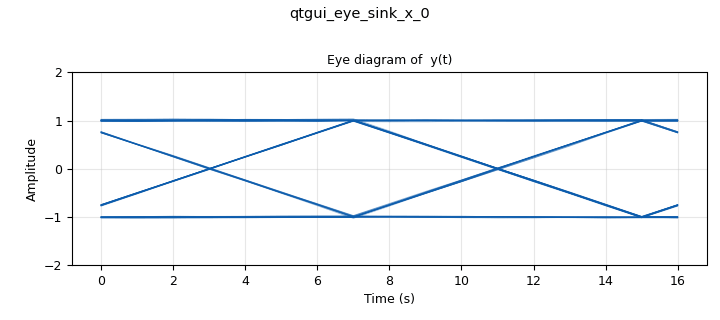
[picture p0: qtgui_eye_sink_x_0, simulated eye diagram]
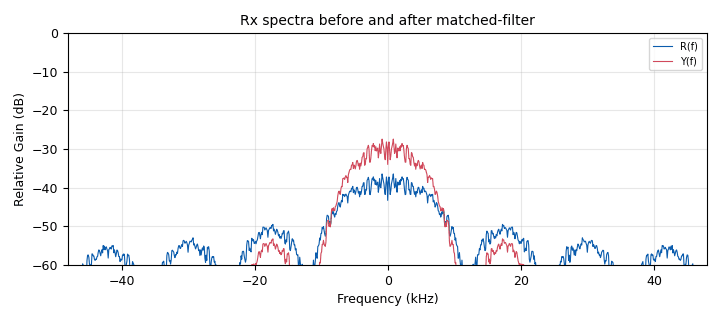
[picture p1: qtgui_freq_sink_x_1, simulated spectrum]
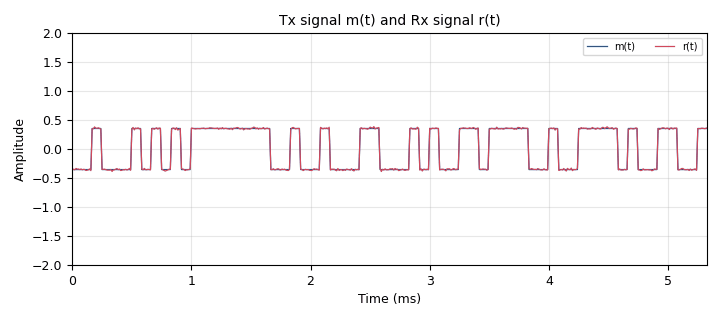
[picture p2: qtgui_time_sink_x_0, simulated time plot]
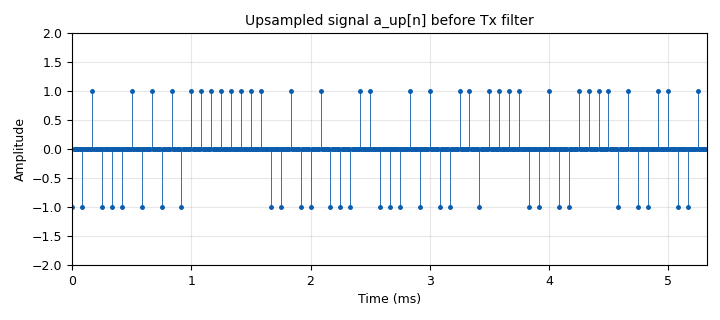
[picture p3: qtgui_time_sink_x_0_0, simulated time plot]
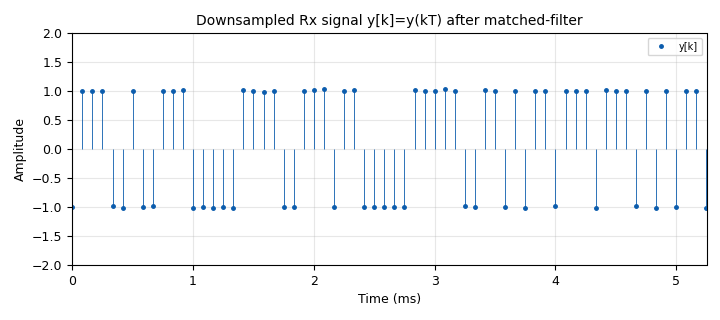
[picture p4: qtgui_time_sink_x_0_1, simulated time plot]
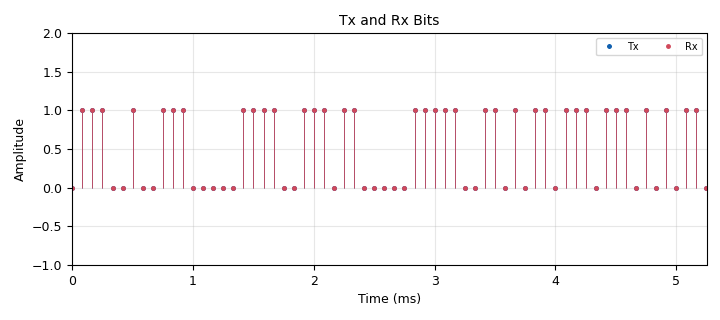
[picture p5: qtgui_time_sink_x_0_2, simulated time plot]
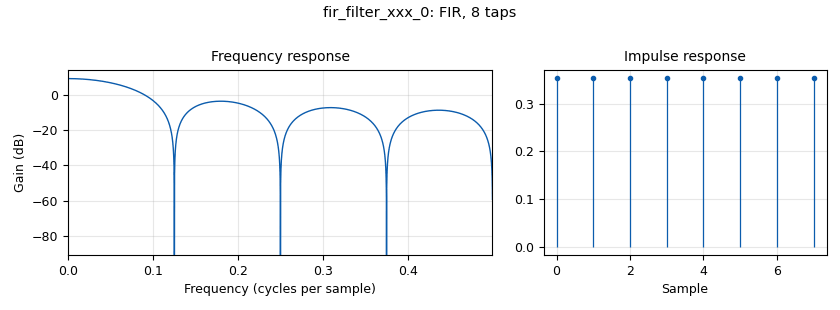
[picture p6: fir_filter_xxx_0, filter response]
options:
  parameters:
    author: Harald Elders-Boll
    description: Bipolar NRZ without noise
    generate_options: qt_gui
    id: BiNRZ
    output_language: python
    title: Bipolar NRZ
  states: {}

blocks:
- name: SNR
  id: variable_qtgui_range
  parameters:
    comment: 0,1,1,1
    gui_hint: 0,1,1,1
    label: SNR
    start: '-10'
    step: '1'
    stop: '40'
    value: '40'
  states: {}
- name: degree_glfsr
  id: variable
  parameters:
    comment: |-
      Degree of
      m-sequence
      is length of shift
      register
    value: '14'
  states: {}
- name: delay
  id: variable_qtgui_range
  parameters:
    comment: 0,0,1,1
    gui_hint: 0,0,1,1
    label: Delay
    start: '0'
    step: '1'
    stop: '10'
    value: '0'
  states: {}
- name: m_sequence_length
  id: variable
  parameters:
    comment: Length of m-sequence
    value: int(2**degree_glfsr-1)
  states: {}
- name: nsymbols_sink
  id: variable
  parameters:
    comment: |-
      Number of symbols shown
      in the sink blocks
    value: '64'
  states: {}
- name: rect_taps
  id: variable
  parameters:
    comment: |-
      Energy normalizsed
      rect filter taps
    value: np.ones(sps)/np.sqrt(sps)
  states: {}
- name: samp_rate
  id: variable
  parameters:
    value: '96000'
  states: {}
- name: sps
  id: variable
  parameters:
    comment: |-
      Number of samples per symbol period.
      Can bee seen as the discrete-time 
      symbol period N.
    value: '8'
  states: {}
- name: analog_noise_source_x_0
  id: analog_noise_source_x
  parameters:
    amp: 10**(-SNR/20)
    comment: |-
      Generate
      WGN
    noise_type: analog.GR_GAUSSIAN
    seed: '0'
    type: float
  states: {}
- name: blocks_add_xx_0
  id: blocks_add_xx
  parameters:
    type: float
  states: {}
- name: blocks_char_to_float_0
  id: blocks_char_to_float
  parameters:
    scale: '1'
  states: {}
- name: blocks_char_to_float_0_0
  id: blocks_char_to_float
  parameters:
    scale: '1'
  states: {}
- name: blocks_delay_0
  id: blocks_delay
  parameters:
    comment: |-
      Compensate
      filter delay
    delay: delay
    type: float
  states: {}
- name: blocks_float_to_char_0
  id: blocks_float_to_char
  parameters:
    scale: '1'
  states: {}
- name: blocks_keep_one_in_n_0
  id: blocks_keep_one_in_n
  parameters:
    comment: |-
      Keep only the last ov every sps samples.
      This can be used  to  downsample
      from symbol rate to sample rate.
    n: sps
    type: float
  states: {}
- name: blocks_repack_bits_bb_0
  id: blocks_repack_bits_bb
  parameters:
    endianness: gr.GR_LSB_FIRST
    k: '1'
    l: '8'
  states: {}
- name: blocks_repack_bits_bb_0_0
  id: blocks_repack_bits_bb
  parameters:
    endianness: gr.GR_LSB_FIRST
    k: '1'
    l: '8'
  states: {}
- name: blocks_threshold_ff_0
  id: blocks_threshold_ff
  parameters:
    comment: |-
      Decision device with
      threshold set to 0.0.
      Output "1" if input is
      lager than threshold
      and zero otherwise-
    high: '0'
    init: '0'
    low: '0'
  states: {}
- name: digital_glfsr_source_x_0
  id: digital_glfsr_source_x
  parameters:
    comment: |-
      Generate pseudo random
      maximum length binary
      shift register sequence
      a.k.a. m-sequence.
    degree: degree_glfsr
    mask: '0'
    repeat: 'True'
    seed: '1'
    type: byte
  states: {}
- name: digital_map_bb_1
  id: digital_map_bb
  parameters:
    comment: |-
      0 -> -1
      1  ->  1
    map: '[-1, 1]'
  states: {}
- name: fec_ber_bf_0
  id: fec_ber_bf
  parameters:
    test_mode: 'False'
  states: {}
- name: fir_filter_xxx_0
  id: fir_filter_xxx
  parameters:
    comment: |-
      Matched filter without downsampling
      or decimation to be able to see eye diagram.
    decim: '1'
    samp_delay: '1'
    taps: rect_taps
    type: fff
  states: {}
- name: import_0
  id: import
  parameters:
    imports: import numpy as np
  states: {}
- name: interp_fir_filter_xxx_0
  id: interp_fir_filter_xxx
  parameters:
    comment: |-
      Tx filter without upsamling
      or interpolation
    interp: '1'
    taps: rect_taps
    type: fff
  states: {}
- name: qtgui_eye_sink_x_0
  id: qtgui_eye_sink_x
  parameters:
    comment: 3,0,1,2
    grid: 'True'
    gui_hint: 3,0,1,2
    label1: Eye diagram of  y(t)
    samp_per_symbol: sps
    size: '1024'
    srate: '1'
    type: float
    ymax: '2'
    ymin: '-2'
  states: {}
- name: qtgui_freq_sink_x_1
  id: qtgui_freq_sink_x
  parameters:
    average: '0.05'
    bw: samp_rate
    comment: 3,2,1,2
    fc: '0'
    fftsize: '1024'
    grid: 'True'
    gui_hint: 3,2,1,2
    label1: R(f)
    label2: Y(f)
    name: '"Rx spectra before and after matched-filter"'
    nconnections: '2'
    type: float
    ymax: '0'
    ymin: '-60'
  states: {}
- name: qtgui_number_sink_0
  id: qtgui_number_sink
  parameters:
    graph_type: qtgui.NUM_GRAPH_HORIZ
    gui_hint: 0,2,1,1
    label1: BER
    min: '-10'
    name: '"BER"'
    type: float
  states: {}
- name: qtgui_time_sink_x_0
  id: qtgui_time_sink_x
  parameters:
    comment: 2,2,1,2
    grid: 'True'
    gui_hint: 2,2,1,2
    label1: '"m(t)"'
    label2: '"r(t)"'
    name: '"Tx signal m(t) and Rx signal r(t)"'
    nconnections: '2'
    size: nsymbols_sink*sps
    srate: samp_rate
    type: float
    ymax: '2'
    ymin: '-2'
  states: {}
- name: qtgui_time_sink_x_0_0
  id: qtgui_time_sink_x
  parameters:
    comment: 1,2,1,2
    grid: 'True'
    gui_hint: 1,2,1,2
    marker1: '0'
    name: '"Upsampled signal a_up[n] before Tx filter"'
    size: nsymbols_sink*sps
    srate: samp_rate
    stemplot: 'True'
    type: float
    ymax: '2'
    ymin: '-2'
  states: {}
- name: qtgui_time_sink_x_0_1
  id: qtgui_time_sink_x
  parameters:
    comment: 2,0,1,2
    grid: 'True'
    gui_hint: 2,0,1,2
    label1: y[k]
    marker1: '0'
    name: '"Downsampled Rx signal y[k]=y(kT) after matched-filter"'
    size: nsymbols_sink
    srate: samp_rate/sps
    stemplot: 'True'
    type: float
    ymax: '2'
    ymin: '-2'
  states: {}
- name: qtgui_time_sink_x_0_2
  id: qtgui_time_sink_x
  parameters:
    comment: 1,0,1,2
    grid: 'True'
    gui_hint: 1,0,1,2
    label1: Tx
    label2: Rx
    marker1: '0'
    marker2: '0'
    name: '" Tx and Rx Bits"'
    nconnections: '2'
    size: nsymbols_sink
    srate: samp_rate/sps
    stemplot: 'True'
    tr_mode: qtgui.TRIG_MODE_AUTO
    type: float
    ymax: '2'
  states: {}
- name: rational_resampler_xxx_1_0
  id: rational_resampler_xxx
  parameters:
    comment: |-
      Inset zeros to upsample
      from symbol rate to sample rate.
      Upsampling factor is given by 
      variable sps.
    decim: '1'
    interp: sps
    taps: '[1]'
    type: fff
  states: {}
- name: virtual_sink_0
  id: virtual_sink
  parameters:
    stream_id: TxBits
  states: {}
- name: virtual_source_0
  id: virtual_source
  parameters:
    stream_id: TxBits
  states: {}

connections:
- [analog_noise_source_x_0, '0', blocks_add_xx_0, '1']
- [blocks_add_xx_0, '0', fir_filter_xxx_0, '0']
- [blocks_add_xx_0, '0', qtgui_freq_sink_x_1, '0']
- [blocks_add_xx_0, '0', qtgui_time_sink_x_0, '1']
- [blocks_char_to_float_0, '0', rational_resampler_xxx_1_0, '0']
- [blocks_char_to_float_0_0, '0', blocks_delay_0, '0']
- [blocks_delay_0, '0', qtgui_time_sink_x_0_2, '0']
- [blocks_float_to_char_0, '0', blocks_repack_bits_bb_0, '0']
- [blocks_keep_one_in_n_0, '0', blocks_threshold_ff_0, '0']
- [blocks_keep_one_in_n_0, '0', qtgui_time_sink_x_0_1, '0']
- [blocks_repack_bits_bb_0, '0', fec_ber_bf_0, '0']
- [blocks_repack_bits_bb_0_0, '0', fec_ber_bf_0, '1']
- [blocks_threshold_ff_0, '0', blocks_float_to_char_0, '0']
- [blocks_threshold_ff_0, '0', qtgui_time_sink_x_0_2, '1']
- [digital_glfsr_source_x_0, '0', blocks_char_to_float_0_0, '0']
- [digital_glfsr_source_x_0, '0', digital_map_bb_1, '0']
- [digital_glfsr_source_x_0, '0', virtual_sink_0, '0']
- [digital_map_bb_1, '0', blocks_char_to_float_0, '0']
- [fec_ber_bf_0, '0', qtgui_number_sink_0, '0']
- [fir_filter_xxx_0, '0', blocks_keep_one_in_n_0, '0']
- [fir_filter_xxx_0, '0', qtgui_eye_sink_x_0, '0']
- [fir_filter_xxx_0, '0', qtgui_freq_sink_x_1, '1']
- [interp_fir_filter_xxx_0, '0', blocks_add_xx_0, '0']
- [interp_fir_filter_xxx_0, '0', qtgui_time_sink_x_0, '0']
- [rational_resampler_xxx_1_0, '0', interp_fir_filter_xxx_0, '0']
- [rational_resampler_xxx_1_0, '0', qtgui_time_sink_x_0_0, '0']
- [virtual_source_0, '0', blocks_repack_bits_bb_0_0, '0']

metadata:
  file_format: 1
  grc_version: 3.10.10.0
